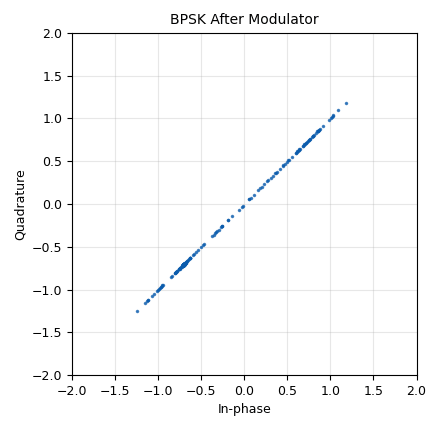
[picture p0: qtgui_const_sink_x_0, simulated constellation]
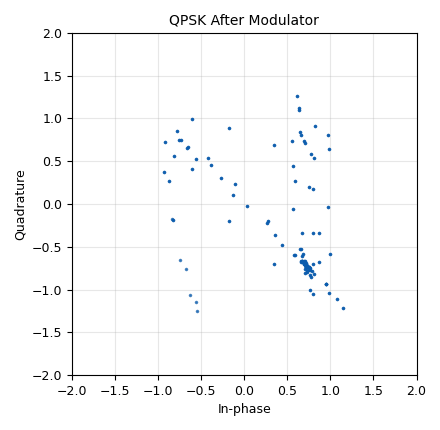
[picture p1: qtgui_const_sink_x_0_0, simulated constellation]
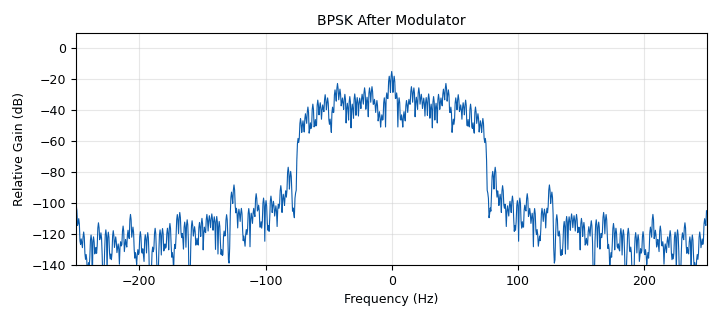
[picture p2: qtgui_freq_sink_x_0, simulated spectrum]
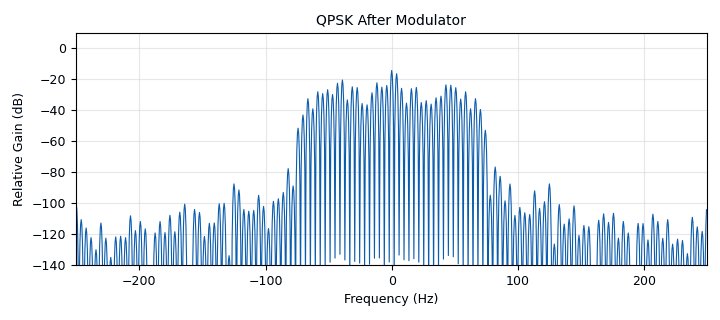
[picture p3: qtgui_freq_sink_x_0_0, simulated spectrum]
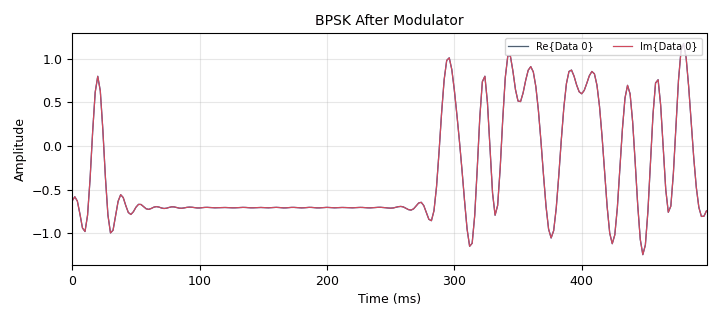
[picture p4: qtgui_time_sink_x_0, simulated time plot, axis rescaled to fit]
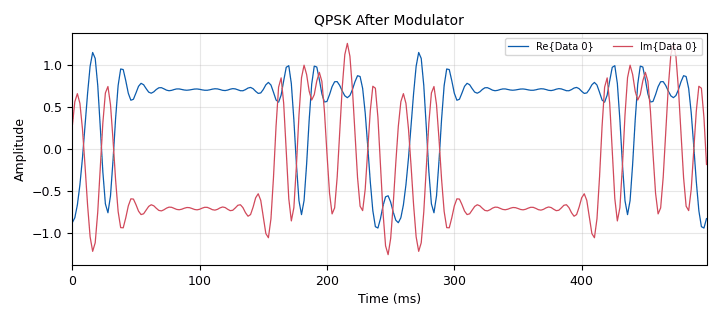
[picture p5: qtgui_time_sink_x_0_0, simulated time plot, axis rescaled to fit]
options:
  parameters:
    author: Abraxas3d
    description: for GRCon20 Deviations
    generate_options: qt_gui
    id: Shinto_CDMA
    output_language: python
    title: Shinto CDMA Signals
  states: {}

blocks:
- name: cdma_bpsk
  id: variable_constellation_rect
  parameters:
    const_points: '[0.707 + 0.707j,  -0.707 - 0.707j]'
    imag_sect: '1'
    real_sect: '1'
    rot_sym: '2'
    sym_map: '[0,1]'
    w_imag_sect: '1'
    w_real_sect: '1'
  states: {}
- name: cdma_qpsk
  id: variable_constellation_rect
  parameters:
    const_points: '[0.707 + 0.707j, -0.707 + 0.707j,  -0.707 - 0.707j, 0.707 -0.707j]'
    imag_sect: '2'
    real_sect: '2'
    rot_sym: '4'
    sym_map: '[0,1,2,3]'
    w_imag_sect: '1'
    w_real_sect: '1'
  states: {}
- name: chips_per_symbol
  id: variable
  parameters:
    value: '8'
  states: {}
- name: excess_bw
  id: variable
  parameters:
    value: '0.2'
  states: {}
- name: samp_rate
  id: variable
  parameters:
    value: '500'
  states: {}
- name: sps
  id: variable
  parameters:
    value: '4'
  states: {}
- name: symbol_rate
  id: variable
  parameters:
    value: samp_rate/chips_per_symbol
  states: {}
- name: analog_random_source_x_0
  id: analog_random_source_x
  parameters:
    max: '255'
    min: '0'
    num_samps: '4'
    repeat: 'True'
    type: byte
  states: {}
- name: blocks_message_debug_0
  id: blocks_message_debug
  parameters: {}
  states: {}
- name: blocks_message_debug_0_0
  id: blocks_message_debug
  parameters: {}
  states: {}
- name: blocks_packed_to_unpacked_xx_0
  id: blocks_packed_to_unpacked_xx
  parameters:
    bits_per_chunk: '1'
    endianness: gr.GR_MSB_FIRST
    type: byte
  states: {}
- name: blocks_packed_to_unpacked_xx_1
  id: blocks_packed_to_unpacked_xx
  parameters:
    bits_per_chunk: '1'
    endianness: gr.GR_MSB_FIRST
    type: byte
  states: {}
- name: blocks_stream_to_tagged_stream_0
  id: blocks_stream_to_tagged_stream
  parameters:
    len_tag_key: '"packet_len"'
    packet_len: '4'
    type: byte
  states: {}
- name: blocks_stream_to_tagged_stream_0_0_0_0
  id: blocks_stream_to_tagged_stream
  parameters:
    len_tag_key: '"unspread_len"'
    packet_len: 8*8
    type: byte
  states: {}
- name: blocks_stream_to_tagged_stream_0_0_1
  id: blocks_stream_to_tagged_stream
  parameters:
    len_tag_key: '"spread_len"'
    packet_len: 8*8
    type: byte
  states: {}
- name: blocks_stream_to_tagged_stream_1
  id: blocks_stream_to_tagged_stream
  parameters:
    len_tag_key: '"packet_len"'
    packet_len: '4'
    type: byte
  states: {}
- name: blocks_tag_debug_0
  id: blocks_tag_debug
  parameters:
    type: byte
  states: {}
- name: blocks_tag_debug_0_0
  id: blocks_tag_debug
  parameters:
    type: byte
  states: {}
- name: blocks_tagged_stream_mux_0
  id: blocks_tagged_stream_mux
  parameters:
    lengthtagname: packet_len
    ninputs: '2'
    type: byte
  states: {}
- name: blocks_tagged_stream_to_pdu_0
  id: blocks_tagged_stream_to_pdu
  parameters:
    tag: unspread_len
    type: byte
  states: {}
- name: blocks_tagged_stream_to_pdu_0_0
  id: blocks_tagged_stream_to_pdu
  parameters:
    tag: spread_len
    type: byte
  states: {}
- name: blocks_throttle_0
  id: blocks_throttle
  parameters:
    samples_per_second: samp_rate
    type: byte
  states: {}
- name: blocks_unpacked_to_packed_xx_0
  id: blocks_unpacked_to_packed_xx
  parameters:
    bits_per_chunk: '8'
    endianness: gr.GR_MSB_FIRST
    type: byte
  states: {}
- name: blocks_unpacked_to_packed_xx_1
  id: blocks_unpacked_to_packed_xx
  parameters:
    bits_per_chunk: '8'
    endianness: gr.GR_MSB_FIRST
    type: byte
  states: {}
- name: blocks_vector_source_x_0
  id: blocks_vector_source_x
  parameters:
    repeat: 'True'
    type: byte
    vector: '[255 , 254 , 47, 213, 39, 128, 0, 1, 77, 0, 8, 128, 202, 196, 27, 117, 64, 185, 0,0,0]'
  states: {state: disabled}
- name: blocks_vector_source_x_1
  id: blocks_vector_source_x
  parameters:
    repeat: 'True'
    type: byte
    vector: '[255, 255, 255, 255]'
  states: {}
- name: digital_constellation_modulator_0
  id: digital_constellation_modulator
  parameters:
    constellation: cdma_bpsk
    differential: 'False'
    excess_bw: excess_bw
    samples_per_symbol: sps
  states: {}
- name: digital_constellation_modulator_0_0
  id: digital_constellation_modulator
  parameters:
    constellation: cdma_qpsk
    differential: 'False'
    excess_bw: excess_bw
    samples_per_symbol: sps
  states: {}
- name: digital_map_bb_0
  id: digital_map_bb
  parameters:
    map: '[34,221]'
  states: {}
- name: digital_map_bb_1
  id: digital_map_bb
  parameters:
    map: '[0,255]'
  states: {}
- name: qtgui_const_sink_x_0
  id: qtgui_const_sink_x
  parameters:
    grid: 'True'
    name: BPSK After Modulator
    size: '250'
    type: complex
  states: {}
- name: qtgui_const_sink_x_0_0
  id: qtgui_const_sink_x
  parameters:
    grid: 'True'
    name: QPSK After Modulator
    size: '250'
    type: complex
  states: {}
- name: qtgui_freq_sink_x_0
  id: qtgui_freq_sink_x
  parameters:
    bw: samp_rate
    fc: '0'
    fftsize: '1024'
    name: BPSK After Modulator
    type: complex
    wintype: firdes.WIN_BLACKMAN_hARRIS
  states: {}
- name: qtgui_freq_sink_x_0_0
  id: qtgui_freq_sink_x
  parameters:
    bw: samp_rate
    fc: '0'
    fftsize: '1024'
    name: QPSK After Modulator
    type: complex
    wintype: firdes.WIN_BLACKMAN_hARRIS
  states: {}
- name: qtgui_time_sink_x_0
  id: qtgui_time_sink_x
  parameters:
    name: BPSK After Modulator
    size: '250'
    srate: samp_rate
    type: complex
  states: {}
- name: qtgui_time_sink_x_0_0
  id: qtgui_time_sink_x
  parameters:
    name: QPSK After Modulator
    size: '250'
    srate: samp_rate
    type: complex
  states: {}

connections:
- [analog_random_source_x_0, '0', blocks_throttle_0, '0']
- [blocks_packed_to_unpacked_xx_0, '0', digital_map_bb_0, '0']
- [blocks_packed_to_unpacked_xx_1, '0', digital_map_bb_1, '0']
- [blocks_stream_to_tagged_stream_0, '0', blocks_tagged_stream_mux_0, '1']
- [blocks_stream_to_tagged_stream_0_0_0_0, '0', blocks_tagged_stream_to_pdu_0, '0']
- [blocks_stream_to_tagged_stream_0_0_1, '0', blocks_tag_debug_0, '0']
- [blocks_stream_to_tagged_stream_0_0_1, '0', blocks_tagged_stream_to_pdu_0_0, '0']
- [blocks_stream_to_tagged_stream_1, '0', blocks_tagged_stream_mux_0, '0']
- [blocks_tagged_stream_mux_0, '0', blocks_packed_to_unpacked_xx_0, '0']
- [blocks_tagged_stream_mux_0, '0', blocks_packed_to_unpacked_xx_1, '0']
- [blocks_tagged_stream_mux_0, '0', digital_constellation_modulator_0, '0']
- [blocks_tagged_stream_mux_0, '0', digital_constellation_modulator_0_0, '0']
- [blocks_tagged_stream_to_pdu_0, pdus, blocks_message_debug_0, print_pdu]
- [blocks_tagged_stream_to_pdu_0_0, pdus, blocks_message_debug_0_0, print_pdu]
- [blocks_throttle_0, '0', blocks_stream_to_tagged_stream_0, '0']
- [blocks_unpacked_to_packed_xx_0, '0', blocks_stream_to_tagged_stream_0_0_1, '0']
- [blocks_unpacked_to_packed_xx_1, '0', blocks_stream_to_tagged_stream_0_0_0_0, '0']
- [blocks_unpacked_to_packed_xx_1, '0', blocks_tag_debug_0_0, '0']
- [blocks_vector_source_x_0, '0', blocks_throttle_0, '0']
- [blocks_vector_source_x_1, '0', blocks_stream_to_tagged_stream_1, '0']
- [digital_constellation_modulator_0, '0', qtgui_const_sink_x_0, '0']
- [digital_constellation_modulator_0, '0', qtgui_freq_sink_x_0, '0']
- [digital_constellation_modulator_0, '0', qtgui_time_sink_x_0, '0']
- [digital_constellation_modulator_0_0, '0', qtgui_const_sink_x_0_0, '0']
- [digital_constellation_modulator_0_0, '0', qtgui_freq_sink_x_0_0, '0']
- [digital_constellation_modulator_0_0, '0', qtgui_time_sink_x_0_0, '0']
- [digital_map_bb_0, '0', blocks_unpacked_to_packed_xx_0, '0']
- [digital_map_bb_1, '0', blocks_unpacked_to_packed_xx_1, '0']

metadata:
  file_format: 1
